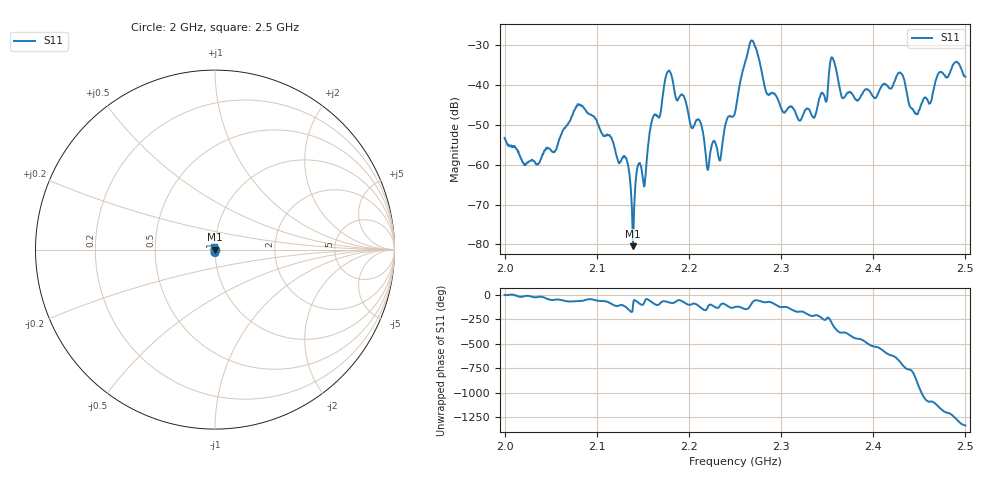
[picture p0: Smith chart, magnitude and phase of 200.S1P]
! C:\Users\rflab\Downloads\dp2_kdzw\200.S1P
! Touchstone 1.1 file saved by VNA.EXE V1.65 (www.ke5fx.com/gpib/readme.htm)
! 12/12/2024 7:13:18 PM
!  Source: HEWLETT PACKARD,8753D,0,6.14
!  Min freq: 2.000000E+009 Hz
!  Max freq: 2.500000E+009 Hz
!  Points: 801
!  Params: S21
# GHZ S MA R 50
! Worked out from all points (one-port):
!   801 points, 2 GHz to 2.5 GHz, reference 50 ohm
!   lowest |S11| = -80.4 dB at 2.139 GHz (marker M1), VSWR 1.00, Z = 50 - j0.0093 ohm
!   |S11| at or under -10 dB: start of sweep to end of sweep
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2  0.00217 0.7
2.035625  0.001006 -21.9
2.0625  0.00258 -52.9
2.083125  0.00557 -62.0
2.125  0.001079 -105.8
2.1325  0.001148 -130.5
2.139375  9.5e-05 -101.7
2.144375  0.000956 -73.4
2.151875  0.000546 -67.6
2.159375  0.003384 -70.0
2.17625  0.01436 -69.6
2.1875  0.006378 -56.2
2.211875  0.003543 -121.8
2.220625  0.000858 -121.0
2.25  0.004535 -123.3
2.268125  0.03632 -86.4
2.285  0.007664 -72.2
2.3125  0.005258 -154.2
2.33625  0.003915 150.5
2.34875  0.006156 112.5
2.355625  0.02202 61.2
2.36625  0.006896 -24.7
2.375  0.008086 -52.9
2.42875  0.01444 42.1
2.4375  0.006794 -38.4
2.4475  0.004318 -168.3
2.471875  0.01452 -70.0
2.5  0.0127 108.4
